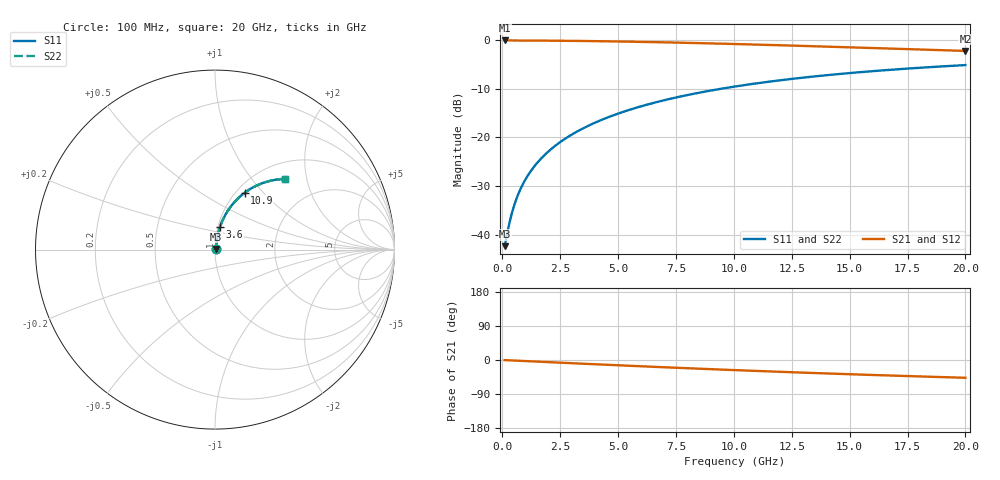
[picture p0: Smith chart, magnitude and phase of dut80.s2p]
! Touchstone file exported from HFSS 2024.1.0
!  File:  C:/UserFiles/LocalFiles/RDL_TSV_Batchsim/temp_RDL_bottom_80_1778694273.aedt
!  Generated:  01:47:19 AM May 14, 2026
!  Design:  RDL_bottom
!  Project:  temp_RDL_bottom_80_1778694273
!  Setup:  Setup1
!  Solution:  Sweep
! Variables:
!  dtsv = 10.80580581um
!  hbump = 3um
!  htsv = 99.27um
!  ldown = 555.39um
!  lrdl = 100um
!  p = 40
!  p1 = 57.69um
!  rhole = 1um
!  t = 450um
!  tdown = 2.94um
!  trdl = 3.915915916um
!  wdown = 10.06um
!  wrdl = 20um
# GHz S MA R 50.000000
! Terminal data exported
! Port[1] = RDL1_T1
! Port[2] = RDL1_T2
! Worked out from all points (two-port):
!   200 points, 100 MHz to 20 GHz, reference 50 ohm
!   highest |S21| = -0.06 dB at 100 MHz (marker M1); lowest = -2.2 dB at 20 GHz (marker M2)
!   |S21| within 3 dB of the highest: start of sweep to end of sweep
!   lowest |S11| = -42.4 dB at 100 MHz (marker M3), VSWR 1.02, Z = 50.7 + j0.37 ohm
!   |S11| at or under -10 dB: start of sweep to 9.444 GHz
!   |S22| runs from -42.4 to -5.1 dB; largest |S21 - S12| = 2e-15
!   S11 on the Smith chart (normalised r, x): 100 MHz: 1.01, +0.01; 3.6 GHz: 1.02, +0.26; 10.9 GHz: 1.09, +0.80; 20 GHz: 1.31, +1.49
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0.1  0.007599 28.7  0.9933 -0.3  0.9933 -0.3  0.007599 28.7
! Gamma 0 0 0 0
! Port Impedance 50 0 50 0
0.3  0.01291 57.8  0.9932 -0.9  0.9932 -0.9  0.01291 57.8
0.4  0.01616 64.1  0.993 -1.2  0.993 -1.2  0.01616 64.1
0.5  0.01953 68.1  0.9929 -1.4  0.9929 -1.4  0.01953 68.1
0.6  0.02297 70.9  0.9927 -1.7  0.9927 -1.7  0.02297 70.9
0.7  0.02643 72.8  0.9925 -2.0  0.9925 -2.0  0.02643 72.8
0.9  0.0334 75.4  0.9921 -2.6  0.9921 -2.6  0.0334 75.4
1.2  0.0439 77.4  0.9913 -3.4  0.9913 -3.4  0.0439 77.4
1.4  0.05091 78.2  0.9907 -4.0  0.9907 -4.0  0.05091 78.2
1.7  0.06143 78.8  0.9898 -4.8  0.9898 -4.8  0.06143 78.8
2.2  0.07896 79.0  0.9879 -6.2  0.9879 -6.2  0.07896 79.0
2.8  0.09994 78.6  0.985 -7.9  0.985 -7.9  0.09994 78.6
3.5  0.1243 77.7  0.981 -9.9  0.981 -9.9  0.1243 77.7
3.6  0.1277 77.6  0.9803 -10.1  0.9803 -10.1  0.1277 77.6
5  0.1756 75.1  0.9698 -13.9  0.9698 -13.9  0.1756 75.0
6.8  0.235 71.3  0.9523 -18.7  0.9523 -18.7  0.2349 71.3
8.3  0.282 68.0  0.9352 -22.5  0.9352 -22.5  0.282 68.0
10.1  0.3351 64.1  0.9124 -26.8  0.9124 -26.8  0.3351 64.1
10.9  0.3575 62.4  0.9017 -28.7  0.9017 -28.7  0.3574 62.4
13.4  0.4219 57.3  0.867 -34.3  0.867 -34.3  0.4217 57.3
16.7  0.4946 51.0  0.8203 -40.9  0.8203 -40.9  0.4944 50.9
20  0.5543 45.3  0.7752 -46.9  0.7752 -46.9  0.5541 45.3
